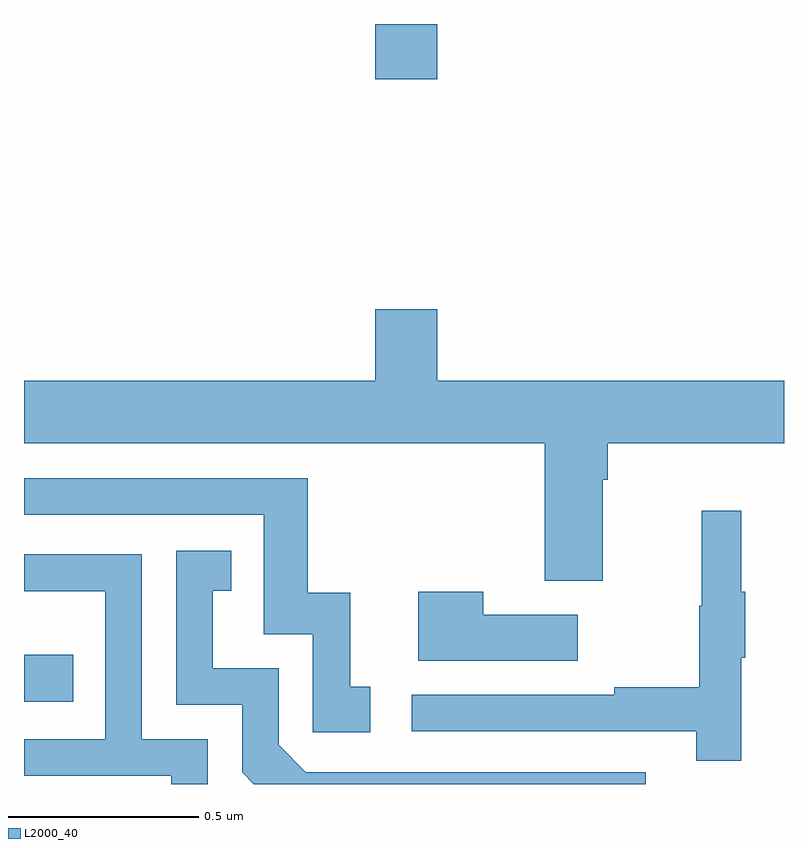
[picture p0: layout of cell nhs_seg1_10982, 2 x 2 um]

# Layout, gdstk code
import gdstk
lib = gdstk.Library(unit=1e-6, precision=1e-09)
def R(c, l, rs):  # rectangles x0, y0, x1, y1
    for r in rs: c.add(gdstk.rectangle(r[:2], r[2:], *l))
def P(c, l, *ps):  # polygons
    for p in ps: c.add(gdstk.Polygon(p, *l))
L2000_40 = (2000, 40)

nhs_seg1_10982 = lib.new_cell('nhs_seg1_10982')
R(nhs_seg1_10982, L2000_40, [(248,520.416,248.129,520.539), (248.924,522.054,249.088,522.199)])
P(nhs_seg1_10982, L2000_40, [(249.523,521),(249.536,521),(249.536,521.096),(250,521.096),(250,521.26),(249.088,521.26),(249.088,521.449),(248.924,521.449),(248.924,521.26),(248,521.26),(248,521.096),(249.371,521.096),(249.371,520.734),(249.523,520.734)],
  [(248.911,520.455),(248.858,520.455),(248.858,520.702),(248.747,520.702),(248.747,521.004),(248,521.004),(248,520.908),(248.631,520.908),(248.631,520.593),(248.76,520.593),(248.76,520.335),(248.911,520.335)],
  [(249.887,520.531),(249.898,520.531),(249.898,520.705),(249.887,520.705),(249.887,520.918),(249.784,520.918),(249.784,520.668),(249.777,520.668),(249.777,520.454),(249.553,520.454),(249.553,520.434),(249.021,520.434),(249.021,520.338),(249.769,520.338),(249.769,520.26),(249.887,520.26)],
  [(249.636,520.23),(248.742,520.23),(248.67,520.302),(248.67,520.503),(248.497,520.503),(248.497,520.707),(248.546,520.707),(248.546,520.813),(248.4,520.813),(248.4,520.407),(248.574,520.407),(248.574,520.23),(248.605,520.199),(249.636,520.199)],
  [(248.484,520.317),(248.31,520.317),(248.31,520.803),(248,520.803),(248,520.706),(248.214,520.706),(248.214,520.317),(248,520.317),(248,520.221),(248.387,520.221),(248.387,520.199),(248.484,520.199)],
  [(249.457,520.645),(249.209,520.645),(249.209,520.705),(249.038,520.705),(249.038,520.523),(249.457,520.523)])

lib.write_gds('nhs_seg1_10982.gds')
